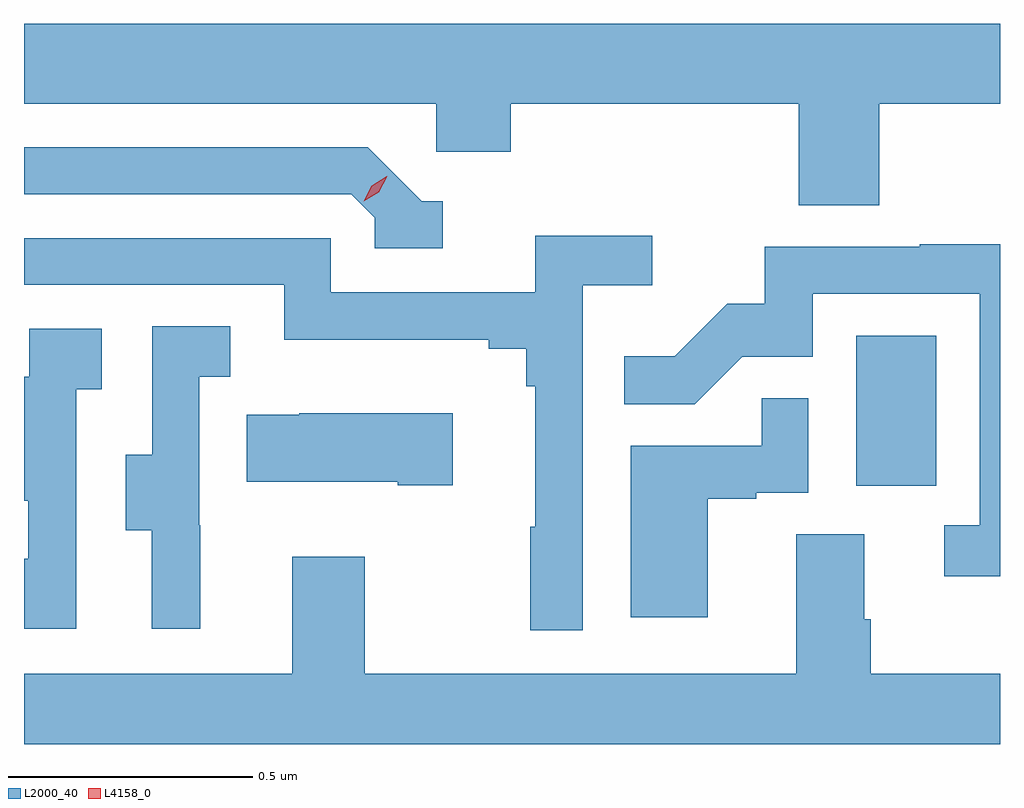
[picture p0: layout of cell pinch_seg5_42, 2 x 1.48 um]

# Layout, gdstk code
import gdstk
lib = gdstk.Library(unit=1e-6, precision=1e-09)
def R(c, l, rs):  # rectangles x0, y0, x1, y1
    for r in rs: c.add(gdstk.rectangle(r[:2], r[2:], *l))
def P(c, l, *ps):  # polygons
    for p in ps: c.add(gdstk.Polygon(p, *l))
L2000_40 = (2000, 40)
L4158_0 = (4158, 0)

pinch_seg5_42 = lib.new_cell('pinch_seg5_42')
R(pinch_seg5_42, L2000_40, [(1110.416,905.262,1110.58,905.569)])
P(pinch_seg5_42, L2000_40, [(1110.464,906.044),(1110.711,906.044),(1110.711,906.208),(1108.711,906.208),(1108.711,906.044),(1109.556,906.044),(1109.556,905.946),(1109.708,905.946),(1109.708,906.044),(1110.299,906.044),(1110.299,905.836),(1110.464,905.836)],
  [(1109.569,905.844),(1109.526,905.844),(1109.415,905.955),(1108.711,905.955),(1108.711,905.859),(1109.382,905.859),(1109.43,905.811),(1109.43,905.748),(1109.569,905.748)],
  [(1109.856,905.672),(1109.998,905.672),(1109.998,905.774),(1109.759,905.774),(1109.759,905.658),(1109.34,905.658),(1109.34,905.769),(1108.711,905.769),(1108.711,905.673),(1109.244,905.673),(1109.244,905.561),(1109.663,905.561),(1109.663,905.542),(1109.74,905.542),(1109.74,905.465),(1109.759,905.465),(1109.759,905.177),(1109.748,905.177),(1109.748,904.965),(1109.856,904.965)],
  [(1110.711,905.756),(1110.547,905.756),(1110.547,905.751),(1110.229,905.751),(1110.229,905.634),(1110.152,905.634),(1110.045,905.527),(1109.941,905.527),(1109.941,905.428),(1110.085,905.428),(1110.183,905.526),(1110.327,905.526),(1110.327,905.655),(1110.669,905.655),(1110.669,905.181),(1110.597,905.181),(1110.597,905.076),(1110.711,905.076)],
  [(1109.072,905.181),(1109.07,905.181),(1109.07,905.485),(1109.134,905.485),(1109.134,905.588),(1108.974,905.588),(1108.974,905.325),(1108.919,905.325),(1108.919,905.17),(1108.973,905.17),(1108.973,904.968),(1109.072,904.968)],
  [(1108.818,905.459),(1108.87,905.459),(1108.87,905.583),(1108.722,905.583),(1108.722,905.485),(1108.711,905.485),(1108.711,905.231),(1108.72,905.231),(1108.72,905.112),(1108.711,905.112),(1108.711,904.968),(1108.818,904.968)],
  [(1110.112,905.235),(1110.212,905.235),(1110.212,905.247),(1110.318,905.247),(1110.318,905.441),(1110.223,905.441),(1110.223,905.343),(1109.954,905.343),(1109.954,904.992),(1110.112,904.992)],
  [(1109.59,905.41),(1109.275,905.41),(1109.275,905.407),(1109.167,905.407),(1109.167,905.27),(1109.477,905.27),(1109.477,905.263),(1109.59,905.263)],
  [(1110.711,904.876),(1110.446,904.876),(1110.446,904.988),(1110.433,904.988),(1110.433,905.162),(1110.293,905.162),(1110.293,904.876),(1109.409,904.876),(1109.409,905.116),(1109.261,905.116),(1109.261,904.876),(1108.711,904.876),(1108.711,904.732),(1110.711,904.732)])
P(pinch_seg5_42, L4158_0, [(1109.407,905.844),(1109.407,905.844),(1109.424,905.876),(1109.454,905.896),(1109.455,905.896),(1109.455,905.896),(1109.438,905.863),(1109.407,905.844)])

lib.write_gds('pinch_seg5_42.gds')
